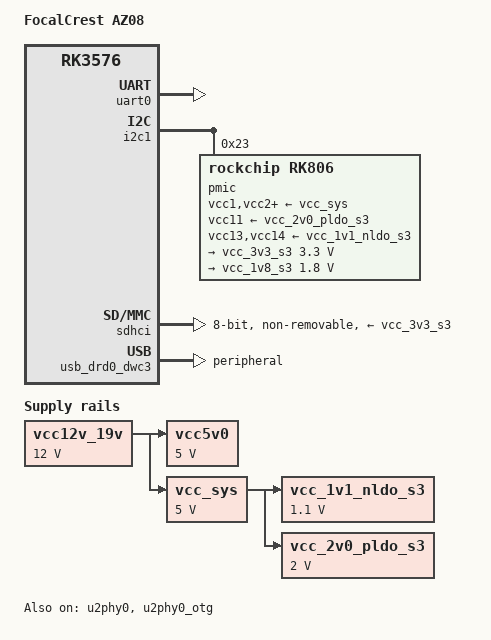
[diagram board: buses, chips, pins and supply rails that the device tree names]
// SPDX-License-Identifier: (GPL-2.0+ OR MIT)
/dts-v1/;

#include <dt-bindings/gpio/gpio.h>
#include <arm64/rockchip/rk3576.dtsi>

/ {
	model = "FocalCrest AZ08";
	compatible = "focalcrest,rk3576s-az08", "rockchip,rk3576";

	aliases {
		mmc0 = &sdhci;
		serial0 = &uart0;
	};

	chosen {
		stdout-path = "serial0:1500000n8";
	};

	vcc12v_19v: regulator-vcc12v-19v {
		compatible = "regulator-fixed";
		regulator-name = "vcc12v_19v";
		regulator-always-on;
		regulator-boot-on;
		regulator-min-microvolt = <12000000>;
		regulator-max-microvolt = <12000000>;
	};

	vcc5v0: regulator-vcc5v0 {
		compatible = "regulator-fixed";
		regulator-name = "vcc5v0";
		regulator-always-on;
		regulator-boot-on;
		regulator-min-microvolt = <5000000>;
		regulator-max-microvolt = <5000000>;
		vin-supply = <&vcc12v_19v>;
	};

	vcc_sys: regulator-vcc-sys {
		compatible = "regulator-fixed";
		regulator-name = "vcc_sys";
		regulator-always-on;
		regulator-boot-on;
		regulator-min-microvolt = <5000000>;
		regulator-max-microvolt = <5000000>;
		vin-supply = <&vcc12v_19v>;
	};

	vcc_1v1_nldo_s3: regulator-vcc-1v1-nldo-s3 {
		compatible = "regulator-fixed";
		regulator-name = "vcc_1v1_nldo_s3";
		regulator-always-on;
		regulator-boot-on;
		regulator-min-microvolt = <1100000>;
		regulator-max-microvolt = <1100000>;
		vin-supply = <&vcc_sys>;
	};

	vcc_2v0_pldo_s3: regulator-vcc-2v0-pldo-s3 {
		compatible = "regulator-fixed";
		regulator-name = "vcc_2v0_pldo_s3";
		regulator-always-on;
		regulator-boot-on;
		regulator-min-microvolt = <2000000>;
		regulator-max-microvolt = <2000000>;
		vin-supply = <&vcc_sys>;
	};
};

&uart0 {
	status = "okay";
};

&i2c1 {
	status = "okay";

	pmic@23 {
		compatible = "rockchip,rk806";
		reg = <0x23>;

		system-power-controller;

		vcc1-supply = <&vcc_sys>;
		vcc2-supply = <&vcc_sys>;
		vcc3-supply = <&vcc_sys>;
		vcc4-supply = <&vcc_sys>;
		vcc5-supply = <&vcc_sys>;
		vcc6-supply = <&vcc_sys>;
		vcc7-supply = <&vcc_sys>;
		vcc8-supply = <&vcc_sys>;
		vcc9-supply = <&vcc_sys>;
		vcc10-supply = <&vcc_sys>;
		vcc11-supply = <&vcc_2v0_pldo_s3>;
		vcc12-supply = <&vcc_sys>;
		vcc13-supply = <&vcc_1v1_nldo_s3>;
		vcc14-supply = <&vcc_1v1_nldo_s3>;
		vcca-supply = <&vcc_sys>;

		regulators {
			vcc_3v3_s3: dcdc-reg4 {
				regulator-always-on;
				regulator-boot-on;
				regulator-min-microvolt = <3300000>;
				regulator-max-microvolt = <3300000>;
				regulator-name = "vcc_3v3_s3";
			};

			vcc_1v8_s3: dcdc-reg8 {
				regulator-always-on;
				regulator-boot-on;
				regulator-min-microvolt = <1800000>;
				regulator-max-microvolt = <1800000>;
				regulator-name = "vcc_1v8_s3";
			};
		};
	};
};

&sdhci {
	bus-width = <8>;
	max-frequency = <200000000>;
	mmc-hs200-1_8v;
	no-sd;
	no-sdio;
	non-removable;
	vmmc-supply = <&vcc_3v3_s3>;
	vqmmc-supply = <&vcc_1v8_s3>;
	status = "okay";
};

&sdmmc {
	status = "disabled";
};

&sdio {
	status = "disabled";
};

&spi1 {
	status = "disabled";
};

&spi3 {
	status = "disabled";
};

&u2phy0 {
	status = "okay";
};

&u2phy0_otg {
	status = "okay";
};

&usb_drd0_dwc3 {
	dr_mode = "peripheral";
	extcon = <&u2phy0>;
	maximum-speed = "high-speed";
	status = "okay";
};
